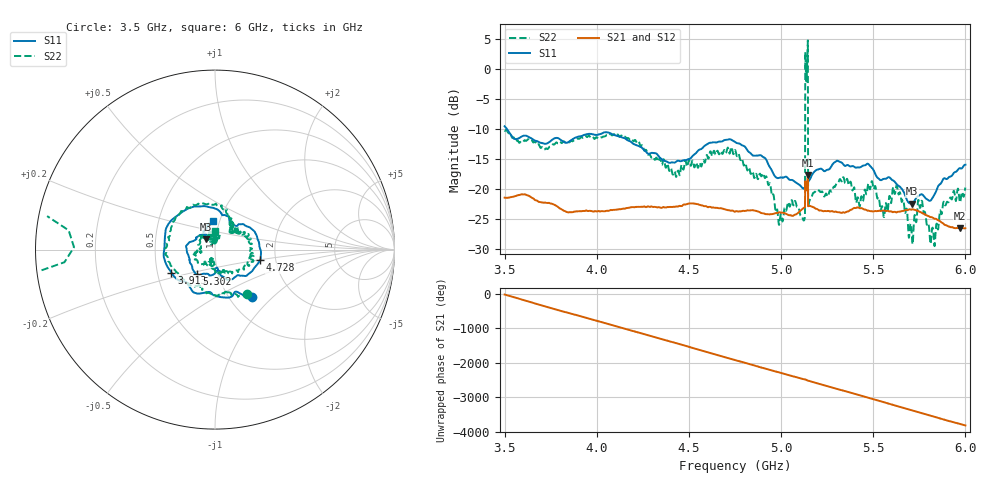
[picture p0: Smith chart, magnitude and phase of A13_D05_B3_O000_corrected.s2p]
! Created with skrf 1.9.0 (http://scikit-rf.org).
# Hz S RI R 50.0
!freq ReS11 ImS11 ReS21 ImS21 ReS12 ImS12 ReS22 ImS22
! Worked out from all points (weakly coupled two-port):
!   1601 points, 3.5 GHz to 6 GHz, reference 50 ohm
!   highest |S21| = -17.66 dB at 5.145 GHz (marker M1); lowest = -26.6 dB at 5.972 GHz (marker M2)
!   lowest |S11| = -22.5 dB at 5.709 GHz (marker M3), VSWR 1.16, Z = 45 + j5.14 ohm
!   |S11| at or under -10 dB: 3.512 GHz to end of sweep
!   |S22| runs from -29.5 to 4.7 dB; largest |S21 - S12| = 0.0012
!   S11 on the Smith chart (normalised r, x): 3.5 GHz: 1.27, -0.75; 3.913 GHz: 0.59, -0.17; 4.728 GHz: 1.65, -0.21; 5.302 GHz: 0.79, -0.22; 6 GHz: 0.93, +0.30
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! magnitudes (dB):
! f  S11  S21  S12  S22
! 3.5 GHz  -9.6  -21.4  -21.4  -10.2
! 3.913 GHz  -11.2  -23.7  -23.7  -11.4
! 3.917 GHz  -11.2  -23.7  -23.7  -11.4
! 4.334 GHz  -14.5  -23.0  -23.0  -15.4
! 4.439 GHz  -15.3  -22.9  -22.9  -17.0
! 4.728 GHz  -11.8  -23.6  -23.5  -13.1
! 4.75 GHz  -12.2  -23.8  -23.7  -13.5
! 4.912 GHz  -14.8  -24.1  -24.1  -18.2
! 4.997 GHz  -18.1  -23.9  -23.9  -24.3
! 5.117 GHz  -19.9  -23.3  -23.2  -24.9
! 5.133 GHz  -19.4  -19.3  -19.3  1.3
! 5.145 GHz  -18.8  -17.7  -17.6  4.7
! 5.159 GHz  -18.2  -22.8  -22.8  -21.6
! 5.167 GHz  -17.7  -22.9  -22.9  -21.2
! 5.302 GHz  -15.3  -23.8  -23.8  -19.0
! 5.584 GHz  -18.0  -23.7  -23.7  -21.8
! 5.636 GHz  -19.4  -23.8  -23.7  -20.8
! 5.709 GHz  -22.5  -23.4  -23.4  -27.7
! 5.753 GHz  -21.0  -23.8  -23.8  -23.1
! 5.822 GHz  -21.5  -24.7  -24.7  -26.4
! 5.972 GHz  -16.5  -26.6  -26.5  -22.2
! 6 GHz  -16.0  -26.5  -26.5  -19.8
